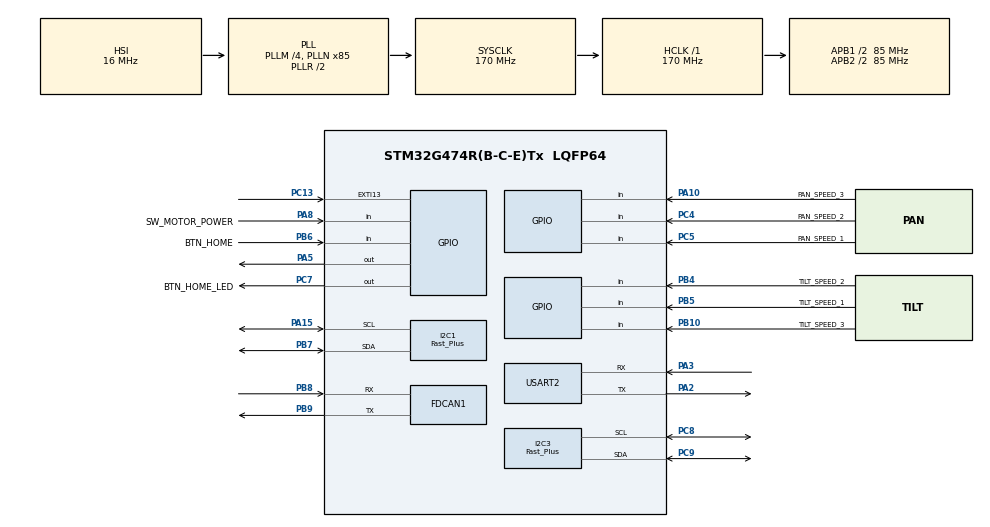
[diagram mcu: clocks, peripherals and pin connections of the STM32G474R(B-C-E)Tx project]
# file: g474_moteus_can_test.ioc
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FDCAN1.AutoRetransmission=ENABLE
FDCAN1.CalculateBaudRateNominal=999999
FDCAN1.CalculateTimeBitNominal=1000
FDCAN1.CalculateTimeQuantumNominal=11.764705882352942
FDCAN1.DataSyncJumpWidth=5
FDCAN1.DataTimeSeg1=11
FDCAN1.DataTimeSeg2=5
FDCAN1.FrameFormat=FDCAN_FRAME_FD_BRS
FDCAN1.Mode=FDCAN_MODE_NORMAL
FDCAN1.NominalPrescaler=1
FDCAN1.NominalSyncJumpWidth=16
FDCAN1.NominalTimeSeg1=56
FDCAN1.NominalTimeSeg2=28
FDCAN1.TransmitPause=ENABLE
I2C1.CustomTiming=Disabled
I2C1.I2C_Speed_Mode=I2C_Fast_Plus
I2C1.Timing=0x00C20F27
I2C3.CustomTiming=Disabled
I2C3.I2C_Speed_Mode=I2C_Fast_Plus
I2C3.Timing=0x00C20F27
Mcu.Family=STM32G4
Mcu.Name=STM32G474R(B-C-E)Tx
Mcu.Package=LQFP64
NUCLEO-G474RE.BUTTON=1
NUCLEO-G474RE.LD2=true
NVIC.EXTI15_10_IRQn=true\:0\:0\:false\:false\:true\:false\:true\:true
NVIC.PriorityGroup=NVIC_PRIORITYGROUP_4
PA10.GPIO_Label=PAN_SPEED_3
PA10.GPIO_PuPd=GPIO_PULLDOWN
PA10.Signal=GPIO_Input
PA13.GPIO_Label=T_SWDIO
PA13.Signal=SYS_JTMS-SWDIO
PA14.GPIO_Label=T_SWCLK
PA14.Signal=SYS_JTCK-SWCLK
PA15.Mode=I2C
PA15.Signal=I2C1_SCL
PA2.Mode=Asynchronous
PA2.Signal=USART2_TX
PA3.Mode=Asynchronous
PA3.Signal=USART2_RX
PA5.Signal=GPIO_Output
PA8.GPIO_Label=SW_MOTOR_POWER
PA8.GPIO_PuPd=GPIO_PULLDOWN
PA8.Signal=GPIO_Input
PA9.Signal=I2C2_SCL
PB10.GPIO_Label=TILT_SPEED_3
PB10.GPIO_PuPd=GPIO_PULLDOWN
PB10.Signal=GPIO_Input
PB3.GPIO_Label=T_SWO
PB3.Signal=SYS_JTDO-SWO
PB4.GPIO_Label=TILT_SPEED_2
PB4.GPIO_PuPd=GPIO_PULLDOWN
PB4.Signal=GPIO_Input
PB5.GPIO_Label=TILT_SPEED_1
PB5.GPIO_PuPd=GPIO_PULLDOWN
PB5.Signal=GPIO_Input
PB6.GPIO_Label=BTN_HOME
PB6.GPIO_PuPd=GPIO_PULLDOWN
PB6.Signal=GPIO_Input
PB7.Mode=I2C
PB7.Signal=I2C1_SDA
PB8-BOOT0.Mode=FDCAN_Activate
PB8-BOOT0.Signal=FDCAN1_RX
PB9.Mode=FDCAN_Activate
PB9.Signal=FDCAN1_TX
PC13.Signal=GPXTI13
PC14-OSC32_IN.GPIO_Label=RCC_OSC32_IN
PC14-OSC32_IN.Signal=RCC_OSC32_IN
PC15-OSC32_OUT.GPIO_Label=RCC_OSC32_OUT
PC15-OSC32_OUT.Signal=RCC_OSC32_OUT
PC4.GPIO_Label=PAN_SPEED_2
PC4.GPIO_PuPd=GPIO_PULLDOWN
PC4.Signal=GPIO_Input
PC5.GPIO_Label=PAN_SPEED_1
PC5.GPIO_PuPd=GPIO_PULLDOWN
PC5.Signal=GPIO_Input
PC7.GPIO_Label=BTN_HOME_LED
PC7.Signal=GPIO_Output
PC8.Mode=I2C
PC8.Signal=I2C3_SCL
PC9.Mode=I2C
PC9.Signal=I2C3_SDA
PF0-OSC_IN.GPIO_Label=RCC_OSC_IN
PF0-OSC_IN.Signal=RCC_OSC_IN
PF1-OSC_OUT.GPIO_Label=RCC_OSC_OUT
PF1-OSC_OUT.Signal=RCC_OSC_OUT
ProjectManager.HeapSize=0x200
ProjectManager.StackSize=0x400
ProjectManager.TargetToolchain=STM32CubeIDE
RCC.ADC12Freq_Value=170000000
RCC.ADC345Freq_Value=170000000
RCC.AHBFreq_Value=170000000
RCC.APB1CLKDivider=RCC_HCLK_DIV2
RCC.APB1Freq_Value=85000000
RCC.APB1TimFreq_Value=170000000
RCC.APB2CLKDivider=RCC_HCLK_DIV2
RCC.APB2Freq_Value=85000000
RCC.APB2TimFreq_Value=170000000
RCC.CortexFreq_Value=170000000
RCC.EXTERNAL_CLOCK_VALUE=12288000
RCC.HCLKFreq_Value=170000000
RCC.HSE_VALUE=24000000
RCC.HSI48_VALUE=48000000
RCC.HSI_VALUE=16000000
RCC.LSE_VALUE=32768
RCC.PLLM=RCC_PLLM_DIV4
RCC.PLLN=85
RCC.RTCClockSelection=RCC_RTCCLKSOURCE_LSE
RCC.SYSCLKFreq_VALUE=170000000
RCC.SYSCLKSource=RCC_SYSCLKSOURCE_PLLCLK
RCC.USBFreq_Value=170000000
RCC.VCOOutputFreq_Value=340000000
TIM2.Channel-Output\ Compare1\ No\ Output=TIM_CHANNEL_1
TIM2.Prescaler=170-1
USART2.VirtualMode-Asynchronous=VM_ASYNC
VP_NUCLEO-G474RE_VS_BSP_COMMON.Mode=COMMON
VP_SYS_VS_DBSignals.Mode=DisableDeadBatterySignals
VP_TIM2_VS_no_output1.Mode=Output Compare1 No Output
board=NUCLEO-G474RE

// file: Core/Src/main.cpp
/* USER CODE BEGIN Header */
/**
  ******************************************************************************
  * @file           : main.c
  * @brief          : Main program body
  ******************************************************************************
  * @attention
  *
  * Copyright (c) 2025 STMicroelectronics.
  * All rights reserved.
  *
  * This software is licensed under terms that can be found in the LICENSE file
  * in the root directory of this software component.
  * If no LICENSE file comes with this software, it is provided AS-IS.
  *
  ******************************************************************************
  */
/* USER CODE END Header */
#include "main.h"

/* USER CODE BEGIN Includes */
#include <stdio.h>
#include "Moteus.h"

/* USER CODE END Includes */

FDCAN_HandleTypeDef hfdcan1;

I2C_HandleTypeDef hi2c1;
I2C_HandleTypeDef hi2c3;

TIM_HandleTypeDef htim2;

UART_HandleTypeDef huart2;

/* USER CODE BEGIN PV */

static const uint32_t LOOP_INTERVAL_MS = 1;

char pbuf[256];
size_t offset = 0;

Moteus moteus1(hfdcan1, huart2, htim2, []() {
	  Moteus::Options options;
	  options.id = 1;
	  options.disable_brs = false;
	  return options;
}());

Moteus moteus2(hfdcan1, huart2, htim2, []() {
	  Moteus::Options options;
	  options.id = 2;
	  options.disable_brs = false;
	  return options;
}());

uint32_t last_send = 0;
uint32_t loop_count = 0;

static const uint8_t AS5600_ADDR = 0x36 << 1;
static const uint8_t AS5600_REG_ANGLE_H = 0x0E;
static const uint8_t AS5600_REG_ANGLE_L = 0x0F;
static const double AS5600_PPR = 4096.0;

uint8_t i2c_buf[16];

double pan_target = 0;
double pan_last = 0;
int32_t pan_revs = 0;

double tilt_target = 0;
double tilt_last = 0;
int32_t tilt_revs = 0;

int pan_speed = 0;
int tilt_speed = 0;

/* USER CODE END PV */

void SystemClock_Config(void);
static void MX_GPIO_Init(void);
static void MX_FDCAN1_Init(void);
static void MX_USART2_UART_Init(void);
static void MX_TIM2_Init(void);
static void MX_I2C1_Init(void);
static void MX_I2C3_Init(void);

/* USER CODE BEGIN 0 */

void home() {
	pan_target = 0;
	pan_last = 0;
	pan_revs = 0;

	tilt_target = 0;
	tilt_last = 0;
	tilt_revs = 0;

	sprintf(pbuf, "homed\n");
	HAL_UART_Transmit(&huart2, (uint8_t*) pbuf, strlen(pbuf), 10);
}

/* USER CODE END 0 */

int main(void)
{

  /* MCU Configuration--------------------------------------------------------*/

  /* Reset of all peripherals, Initializes the Flash interface and the Systick. */
  HAL_Init();

  /* Configure the system clock */
  SystemClock_Config();

  /* Initialize all configured peripherals */
  MX_GPIO_Init();
  MX_FDCAN1_Init();
  MX_USART2_UART_Init();
  MX_TIM2_Init();
  MX_I2C1_Init();
  MX_I2C3_Init();
  /* USER CODE BEGIN 2 */
  HAL_TIM_Base_Start(&htim2);
  HAL_FDCAN_Start(&hfdcan1);

  sprintf(pbuf, "helo\n");
  HAL_UART_Transmit(&huart2, (uint8_t*) pbuf, strlen(pbuf), 10);

  moteus1.SetStop();
  moteus2.SetStop();

  /* USER CODE END 2 */

  /* Initialize led */
  BSP_LED_Init(LED_GREEN);

  /* Initialize USER push-button, will be used to trigger an interrupt each time it's pressed.*/
  BSP_PB_Init(BUTTON_USER, BUTTON_MODE_EXTI);

  /* Infinite loop */
  /* USER CODE BEGIN WHILE */
  while (1)
  {
	const auto now = HAL_GetTick();
	if (now - last_send >= LOOP_INTERVAL_MS) {
//		sprintf(pbuf, "last loop time: %lu\n", now-last_send);
//		HAL_UART_Transmit(&huart2, (uint8_t*) pbuf, strlen(pbuf), 10);

		HAL_GPIO_TogglePin(GPIOA, GPIO_PIN_5);

		// handle control panel inputs

		// home button
		if (HAL_GPIO_ReadPin(BTN_HOME_GPIO_Port, BTN_HOME_Pin) == GPIO_PIN_SET) {
			HAL_GPIO_WritePin(BTN_HOME_LED_GPIO_Port, BTN_HOME_LED_Pin, GPIO_PIN_SET);
			home();
		} else {
			HAL_GPIO_WritePin(BTN_HOME_LED_GPIO_Port, BTN_HOME_LED_Pin, GPIO_PIN_RESET);
		}

		// pan speed
		if (HAL_GPIO_ReadPin(PAN_SPEED_1_GPIO_Port, PAN_SPEED_1_Pin)) {
			pan_speed = 1;
		}
		if (HAL_GPIO_ReadPin(PAN_SPEED_2_GPIO_Port, PAN_SPEED_2_Pin)) {
			pan_speed = 2;
		}
		if (HAL_GPIO_ReadPin(PAN_SPEED_3_GPIO_Port, PAN_SPEED_3_Pin)) {
			pan_speed = 3;
		}

		// tilt speed
		if (HAL_GPIO_ReadPin(TILT_SPEED_1_GPIO_Port, TILT_SPEED_1_Pin)) {
			tilt_speed = 1;
		}
		if (HAL_GPIO_ReadPin(TILT_SPEED_2_GPIO_Port, TILT_SPEED_2_Pin)) {
			tilt_speed = 2;
		}
		if (HAL_GPIO_ReadPin(TILT_SPEED_3_GPIO_Port, TILT_SPEED_3_Pin)) {
			tilt_speed = 3;
		}

		if (loop_count % 100 == 0) {
			offset = 0;
			offset += sprintf(pbuf+offset, "mtr pwr: %d\n", HAL_GPIO_ReadPin(SW_MOTOR_POWER_GPIO_Port, SW_MOTOR_POWER_Pin));
			offset += sprintf(pbuf+offset, "pan_speed: %d\n", pan_speed);
			offset += sprintf(pbuf+offset, "tilt_speed: %d\n\n", tilt_speed);
			HAL_UART_Transmit(&huart2, (uint8_t*) pbuf, strlen(pbuf), 10);
			offset = 0;
		}

		//debug
		loop_count += 1;
		last_send = now;
		continue;

		// get sensor data
		// PAN
		i2c_buf[0] = AS5600_REG_ANGLE_H;
		HAL_I2C_Master_Transmit(&hi2c3, AS5600_ADDR, i2c_buf, 1, 1);
		HAL_I2C_Master_Receive(&hi2c3, AS5600_ADDR, i2c_buf, 2, 1);
		uint16_t pan_raw = (i2c_buf[0] << 8) | (i2c_buf[1]);
		double pan_float = pan_raw / AS5600_PPR;
		if (pan_float > 0.75 && pan_last < 0.25) { pan_revs--; }
		if (pan_float < 0.25 && pan_last > 0.75) { pan_revs++; }
		pan_last = pan_float;
//		pan_target = -(pan_revs+pan_float)/19.0;
		pan_target = -(pan_revs+pan_float)/35.5;
//		sprintf(pbuf, "pan_raw: %d\n", pan_raw);
		sprintf(pbuf, "pan_target: %f\n", pan_target);
		HAL_UART_Transmit(&huart2, (uint8_t*) pbuf, strlen(pbuf), 1);

		// TILT
		i2c_buf[0] = AS5600_REG_ANGLE_H;
		HAL_I2C_Master_Transmit(&hi2c1, AS5600_ADDR, i2c_buf, 1, 1);
		HAL_I2C_Master_Receive(&hi2c1, AS5600_ADDR, i2c_buf, 2, 1);
		uint16_t tilt_raw = (i2c_buf[0] << 8) | (i2c_buf[1]);
		double tilt_float = tilt_raw / AS5600_PPR;
		if (tilt_float > 0.75 && tilt_last < 0.25) { tilt_revs--; }
		if (tilt_float < 0.25 && tilt_last > 0.75) { tilt_revs++; }
		tilt_last = tilt_float;
		//		tilt_target = -(tilt_revs+tilt_float)/(4.25*6);
		tilt_target = -(tilt_revs+tilt_float)/(9.25*6);
//		sprintf(pbuf, "tilt_raw: %d\n\n", tilt_raw);
//		sprintf(pbuf, "tilt_target: %f\n", tilt_target);
//		HAL_UART_Transmit(&huart2, (uint8_t*) pbuf, strlen(pbuf), 10);

		// send motor commands

//		if (moteus1.last_result().values.mode != mjbots::moteus::Mode::kPosition) {
//			  moteus1.SetStop();
//		}
//
//		if (moteus2.last_result().values.mode != mjbots::moteus::Mode::kPosition) {
//			  moteus2.SetStop();
//		}

		Moteus::PositionMode::Command cmd;
		cmd.position = pan_target;
		cmd.velocity = 0.0f;
//		cmd.velocity_limit = 0.1f;
		cmd.accel_limit = 1.0f;
		moteus1.SetPosition(cmd);
		cmd.position = tilt_target;
		moteus2.SetPosition(cmd);

		FDCAN_ProtocolStatusTypeDef protocol_status;
		HAL_FDCAN_GetProtocolStatus(&hfdcan1, &protocol_status);
	    // If we have gotten into a BusOff state, recover.
	    if (protocol_status.BusOff) {
	      hfdcan1.Instance->CCCR &= ~FDCAN_CCCR_INIT;
	    }

		////////////////////// DEBUG //////////////////////////
		if (loop_count % 50 == 0) {
			  auto print_moteus = [](const Moteus::Query::Result& query) {
			    offset += sprintf(pbuf+offset, "\n\nmode: %d\n", static_cast<int>(query.mode));
//			    offset += sprintf(pbuf+offset, "position: %f\n", query.position);
//			    offset += sprintf(pbuf+offset, "velocity: %f\n", query.velocity);
				HAL_UART_Transmit(&huart2, (uint8_t*) pbuf, strlen(pbuf), 1);
			  };

			  print_moteus(moteus1.last_result().values);
	//		  offset += sprintf(pbuf, " / ");
	//		  print_moteus(moteus2.last_result().values);
			  sprintf(pbuf, "requested position: %f\nrequested velocity: %f\nrequested accel limit: %f\n", cmd.position, cmd.velocity, cmd.accel_limit);
//				HAL_UART_Transmit(&huart2, (uint8_t*) pbuf, strlen(pbuf), 10);

			if (protocol_status.LastErrorCode != FDCAN_PROTOCOL_ERROR_NO_CHANGE || protocol_status.BusOff) {
				sprintf(pbuf,
						"\nlast error code: %lu\ndata last error code: %lu\nactivity: %lu\nbus off: %lu\ndelay comp: %lu\n\n",
						protocol_status.LastErrorCode,
						protocol_status.DataLastErrorCode,
						protocol_status.Activity,
						protocol_status.BusOff,
						protocol_status.TDCvalue);
				HAL_UART_Transmit(&huart2, (uint8_t*) pbuf, strlen(pbuf), 1);
			}

//			auto fdcan_state = HAL_FDCAN_GetState(&hfdcan1);
//			sprintf(pbuf, "fdcan_state: %d\n", fdcan_state);
//			HAL_UART_Transmit(&huart2, (uint8_t*) pbuf, strlen(pbuf), 10);
		}

		loop_count += 1;
		last_send = now;
	}

    /* USER CODE END WHILE */

  }
}

void SystemClock_Config(void)
{
  RCC_OscInitTypeDef RCC_OscInitStruct = {0};
  RCC_ClkInitTypeDef RCC_ClkInitStruct = {0};

  /** Configure the main internal regulator output voltage
  */
  HAL_PWREx_ControlVoltageScaling(PWR_REGULATOR_VOLTAGE_SCALE1_BOOST);

  /** Initializes the RCC Oscillators according to the specified parameters
  * in the RCC_OscInitTypeDef structure.
  */
  RCC_OscInitStruct.OscillatorType = RCC_OSCILLATORTYPE_HSI;
  RCC_OscInitStruct.HSIState = RCC_HSI_ON;
  RCC_OscInitStruct.HSICalibrationValue = RCC_HSICALIBRATION_DEFAULT;
  RCC_OscInitStruct.PLL.PLLState = RCC_PLL_ON;
  RCC_OscInitStruct.PLL.PLLSource = RCC_PLLSOURCE_HSI;
  RCC_OscInitStruct.PLL.PLLM = RCC_PLLM_DIV4;
  RCC_OscInitStruct.PLL.PLLN = 85;
  RCC_OscInitStruct.PLL.PLLP = RCC_PLLP_DIV2;
  RCC_OscInitStruct.PLL.PLLQ = RCC_PLLQ_DIV2;
  RCC_OscInitStruct.PLL.PLLR = RCC_PLLR_DIV2;
  if (HAL_RCC_OscConfig(&RCC_OscInitStruct) != HAL_OK)
  {
    Error_Handler();
  }

  /** Initializes the CPU, AHB and APB buses clocks
  */
  RCC_ClkInitStruct.ClockType = RCC_CLOCKTYPE_HCLK|RCC_CLOCKTYPE_SYSCLK
                              |RCC_CLOCKTYPE_PCLK1|RCC_CLOCKTYPE_PCLK2;
  RCC_ClkInitStruct.SYSCLKSource = RCC_SYSCLKSOURCE_PLLCLK;
  RCC_ClkInitStruct.AHBCLKDivider = RCC_SYSCLK_DIV1;
  RCC_ClkInitStruct.APB1CLKDivider = RCC_HCLK_DIV2;
  RCC_ClkInitStruct.APB2CLKDivider = RCC_HCLK_DIV2;

  if (HAL_RCC_ClockConfig(&RCC_ClkInitStruct, FLASH_LATENCY_4) != HAL_OK)
  {
    Error_Handler();
  }
}

static void MX_FDCAN1_Init(void)
{

  hfdcan1.Instance = FDCAN1;
  hfdcan1.Init.ClockDivider = FDCAN_CLOCK_DIV1;
  hfdcan1.Init.FrameFormat = FDCAN_FRAME_FD_BRS;
  hfdcan1.Init.Mode = FDCAN_MODE_NORMAL;
  hfdcan1.Init.AutoRetransmission = ENABLE;
  hfdcan1.Init.TransmitPause = ENABLE;
  hfdcan1.Init.ProtocolException = DISABLE;
  hfdcan1.Init.NominalPrescaler = 1;
  hfdcan1.Init.NominalSyncJumpWidth = 16;
  hfdcan1.Init.NominalTimeSeg1 = 56;
  hfdcan1.Init.NominalTimeSeg2 = 28;
  hfdcan1.Init.DataPrescaler = 1;
  hfdcan1.Init.DataSyncJumpWidth = 5;
  hfdcan1.Init.DataTimeSeg1 = 11;
  hfdcan1.Init.DataTimeSeg2 = 5;
  hfdcan1.Init.StdFiltersNbr = 0;
  hfdcan1.Init.ExtFiltersNbr = 0;
  hfdcan1.Init.TxFifoQueueMode = FDCAN_TX_FIFO_OPERATION;
  if (HAL_FDCAN_Init(&hfdcan1) != HAL_OK)
  {
    Error_Handler();
  }
  /* USER CODE BEGIN FDCAN1_Init 2 */

  if (HAL_FDCAN_ConfigGlobalFilter(
          &hfdcan1,
          FDCAN_ACCEPT_IN_RX_FIFO0,
          FDCAN_ACCEPT_IN_RX_FIFO0,
          FDCAN_FILTER_REMOTE,
          FDCAN_FILTER_REMOTE) != HAL_OK) {
    Error_Handler();
  }

  HAL_FDCAN_EnableTxDelayCompensation(&hfdcan1);
  HAL_FDCAN_ConfigTxDelayCompensation(&hfdcan1, 10, 0);

  /* USER CODE END FDCAN1_Init 2 */

}

static void MX_I2C1_Init(void)
{

  hi2c1.Instance = I2C1;
  hi2c1.Init.Timing = 0x00C20F27;
  hi2c1.Init.OwnAddress1 = 0;
  hi2c1.Init.AddressingMode = I2C_ADDRESSINGMODE_7BIT;
  hi2c1.Init.DualAddressMode = I2C_DUALADDRESS_DISABLE;
  hi2c1.Init.OwnAddress2 = 0;
  hi2c1.Init.OwnAddress2Masks = I2C_OA2_NOMASK;
  hi2c1.Init.GeneralCallMode = I2C_GENERALCALL_DISABLE;
  hi2c1.Init.NoStretchMode = I2C_NOSTRETCH_DISABLE;
  if (HAL_I2C_Init(&hi2c1) != HAL_OK)
  {
    Error_Handler();
  }

  /** Configure Analogue filter
  */
  if (HAL_I2CEx_ConfigAnalogFilter(&hi2c1, I2C_ANALOGFILTER_ENABLE) != HAL_OK)
  {
    Error_Handler();
  }

  /** Configure Digital filter
  */
  if (HAL_I2CEx_ConfigDigitalFilter(&hi2c1, 0) != HAL_OK)
  {
    Error_Handler();
  }

  /** I2C Fast mode Plus enable
  */
  HAL_I2CEx_EnableFastModePlus(I2C_FASTMODEPLUS_I2C1);

}

static void MX_I2C3_Init(void)
{

  hi2c3.Instance = I2C3;
  hi2c3.Init.Timing = 0x00C20F27;
  hi2c3.Init.OwnAddress1 = 0;
  hi2c3.Init.AddressingMode = I2C_ADDRESSINGMODE_7BIT;
  hi2c3.Init.DualAddressMode = I2C_DUALADDRESS_DISABLE;
  hi2c3.Init.OwnAddress2 = 0;
  hi2c3.Init.OwnAddress2Masks = I2C_OA2_NOMASK;
  hi2c3.Init.GeneralCallMode = I2C_GENERALCALL_DISABLE;
  hi2c3.Init.NoStretchMode = I2C_NOSTRETCH_DISABLE;
  if (HAL_I2C_Init(&hi2c3) != HAL_OK)
  {
    Error_Handler();
  }

  /** Configure Analogue filter
  */
  if (HAL_I2CEx_ConfigAnalogFilter(&hi2c3, I2C_ANALOGFILTER_ENABLE) != HAL_OK)
  {
    Error_Handler();
  }

  /** Configure Digital filter
  */
  if (HAL_I2CEx_ConfigDigitalFilter(&hi2c3, 0) != HAL_OK)
  {
    Error_Handler();
  }

  /** I2C Fast mode Plus enable
  */
  HAL_I2CEx_EnableFastModePlus(I2C_FASTMODEPLUS_I2C3);

}

static void MX_TIM2_Init(void)
{

  TIM_MasterConfigTypeDef sMasterConfig = {0};
  TIM_OC_InitTypeDef sConfigOC = {0};

  htim2.Instance = TIM2;
  htim2.Init.Prescaler = 170-1;
  htim2.Init.CounterMode = TIM_COUNTERMODE_UP;
  htim2.Init.Period = 4294967295;
  htim2.Init.ClockDivision = TIM_CLOCKDIVISION_DIV1;
  htim2.Init.AutoReloadPreload = TIM_AUTORELOAD_PRELOAD_DISABLE;
  if (HAL_TIM_OC_Init(&htim2) != HAL_OK)
  {
    Error_Handler();
  }
  sMasterConfig.MasterOutputTrigger = TIM_TRGO_RESET;
  sMasterConfig.MasterSlaveMode = TIM_MASTERSLAVEMODE_DISABLE;
  if (HAL_TIMEx_MasterConfigSynchronization(&htim2, &sMasterConfig) != HAL_OK)
  {
    Error_Handler();
  }
  sConfigOC.OCMode = TIM_OCMODE_TIMING;
  sConfigOC.Pulse = 0;
  sConfigOC.OCPolarity = TIM_OCPOLARITY_HIGH;
  sConfigOC.OCFastMode = TIM_OCFAST_DISABLE;
  if (HAL_TIM_OC_ConfigChannel(&htim2, &sConfigOC, TIM_CHANNEL_1) != HAL_OK)
  {
    Error_Handler();
  }

}

static void MX_USART2_UART_Init(void)
{

  huart2.Instance = USART2;
  huart2.Init.BaudRate = 115200;
  huart2.Init.WordLength = UART_WORDLENGTH_8B;
  huart2.Init.StopBits = UART_STOPBITS_1;
  huart2.Init.Parity = UART_PARITY_NONE;
  huart2.Init.Mode = UART_MODE_TX_RX;
  huart2.Init.HwFlowCtl = UART_HWCONTROL_NONE;
  huart2.Init.OverSampling = UART_OVERSAMPLING_16;
  huart2.Init.OneBitSampling = UART_ONE_BIT_SAMPLE_DISABLE;
  huart2.Init.ClockPrescaler = UART_PRESCALER_DIV1;
  huart2.AdvancedInit.AdvFeatureInit = UART_ADVFEATURE_NO_INIT;
  if (HAL_UART_Init(&huart2) != HAL_OK)
  {
    Error_Handler();
  }
  if (HAL_UARTEx_SetTxFifoThreshold(&huart2, UART_TXFIFO_THRESHOLD_1_8) != HAL_OK)
  {
    Error_Handler();
  }
  if (HAL_UARTEx_SetRxFifoThreshold(&huart2, UART_RXFIFO_THRESHOLD_1_8) != HAL_OK)
  {
    Error_Handler();
  }
  if (HAL_UARTEx_DisableFifoMode(&huart2) != HAL_OK)
  {
    Error_Handler();
  }

}

static void MX_GPIO_Init(void)
{
  GPIO_InitTypeDef GPIO_InitStruct = {0};

  /* GPIO Ports Clock Enable */
  __HAL_RCC_GPIOC_CLK_ENABLE();
  __HAL_RCC_GPIOF_CLK_ENABLE();
  __HAL_RCC_GPIOA_CLK_ENABLE();
  __HAL_RCC_GPIOB_CLK_ENABLE();

  /*Configure GPIO pin Output Level */
  HAL_GPIO_WritePin(BTN_HOME_LED_GPIO_Port, BTN_HOME_LED_Pin, GPIO_PIN_RESET);

  /*Configure GPIO pins : PAN_SPEED_2_Pin PAN_SPEED_1_Pin */
  GPIO_InitStruct.Pin = PAN_SPEED_2_Pin|PAN_SPEED_1_Pin;
  GPIO_InitStruct.Mode = GPIO_MODE_INPUT;
  GPIO_InitStruct.Pull = GPIO_PULLDOWN;
  HAL_GPIO_Init(GPIOC, &GPIO_InitStruct);

  /*Configure GPIO pins : TILT_SPEED_3_Pin TILT_SPEED_2_Pin TILT_SPEED_1_Pin BTN_HOME_Pin */
  GPIO_InitStruct.Pin = TILT_SPEED_3_Pin|TILT_SPEED_2_Pin|TILT_SPEED_1_Pin|BTN_HOME_Pin;
  GPIO_InitStruct.Mode = GPIO_MODE_INPUT;
  GPIO_InitStruct.Pull = GPIO_PULLDOWN;
  HAL_GPIO_Init(GPIOB, &GPIO_InitStruct);

  /*Configure GPIO pin : BTN_HOME_LED_Pin */
  GPIO_InitStruct.Pin = BTN_HOME_LED_Pin;
  GPIO_InitStruct.Mode = GPIO_MODE_OUTPUT_PP;
  GPIO_InitStruct.Pull = GPIO_NOPULL;
  GPIO_InitStruct.Speed = GPIO_SPEED_FREQ_LOW;
  HAL_GPIO_Init(BTN_HOME_LED_GPIO_Port, &GPIO_InitStruct);

  /*Configure GPIO pins : SW_MOTOR_POWER_Pin PAN_SPEED_3_Pin */
  GPIO_InitStruct.Pin = SW_MOTOR_POWER_Pin|PAN_SPEED_3_Pin;
  GPIO_InitStruct.Mode = GPIO_MODE_INPUT;
  GPIO_InitStruct.Pull = GPIO_PULLDOWN;
  HAL_GPIO_Init(GPIOA, &GPIO_InitStruct);

  /*Configure GPIO pin : PA9 */
  GPIO_InitStruct.Pin = GPIO_PIN_9;
  GPIO_InitStruct.Mode = GPIO_MODE_AF_OD;
  GPIO_InitStruct.Pull = GPIO_NOPULL;
  GPIO_InitStruct.Speed = GPIO_SPEED_FREQ_LOW;
  GPIO_InitStruct.Alternate = GPIO_AF4_I2C2;
  HAL_GPIO_Init(GPIOA, &GPIO_InitStruct);

}

void Error_Handler(void)
{
  __disable_irq();
  while (1)
  {
  }
}
